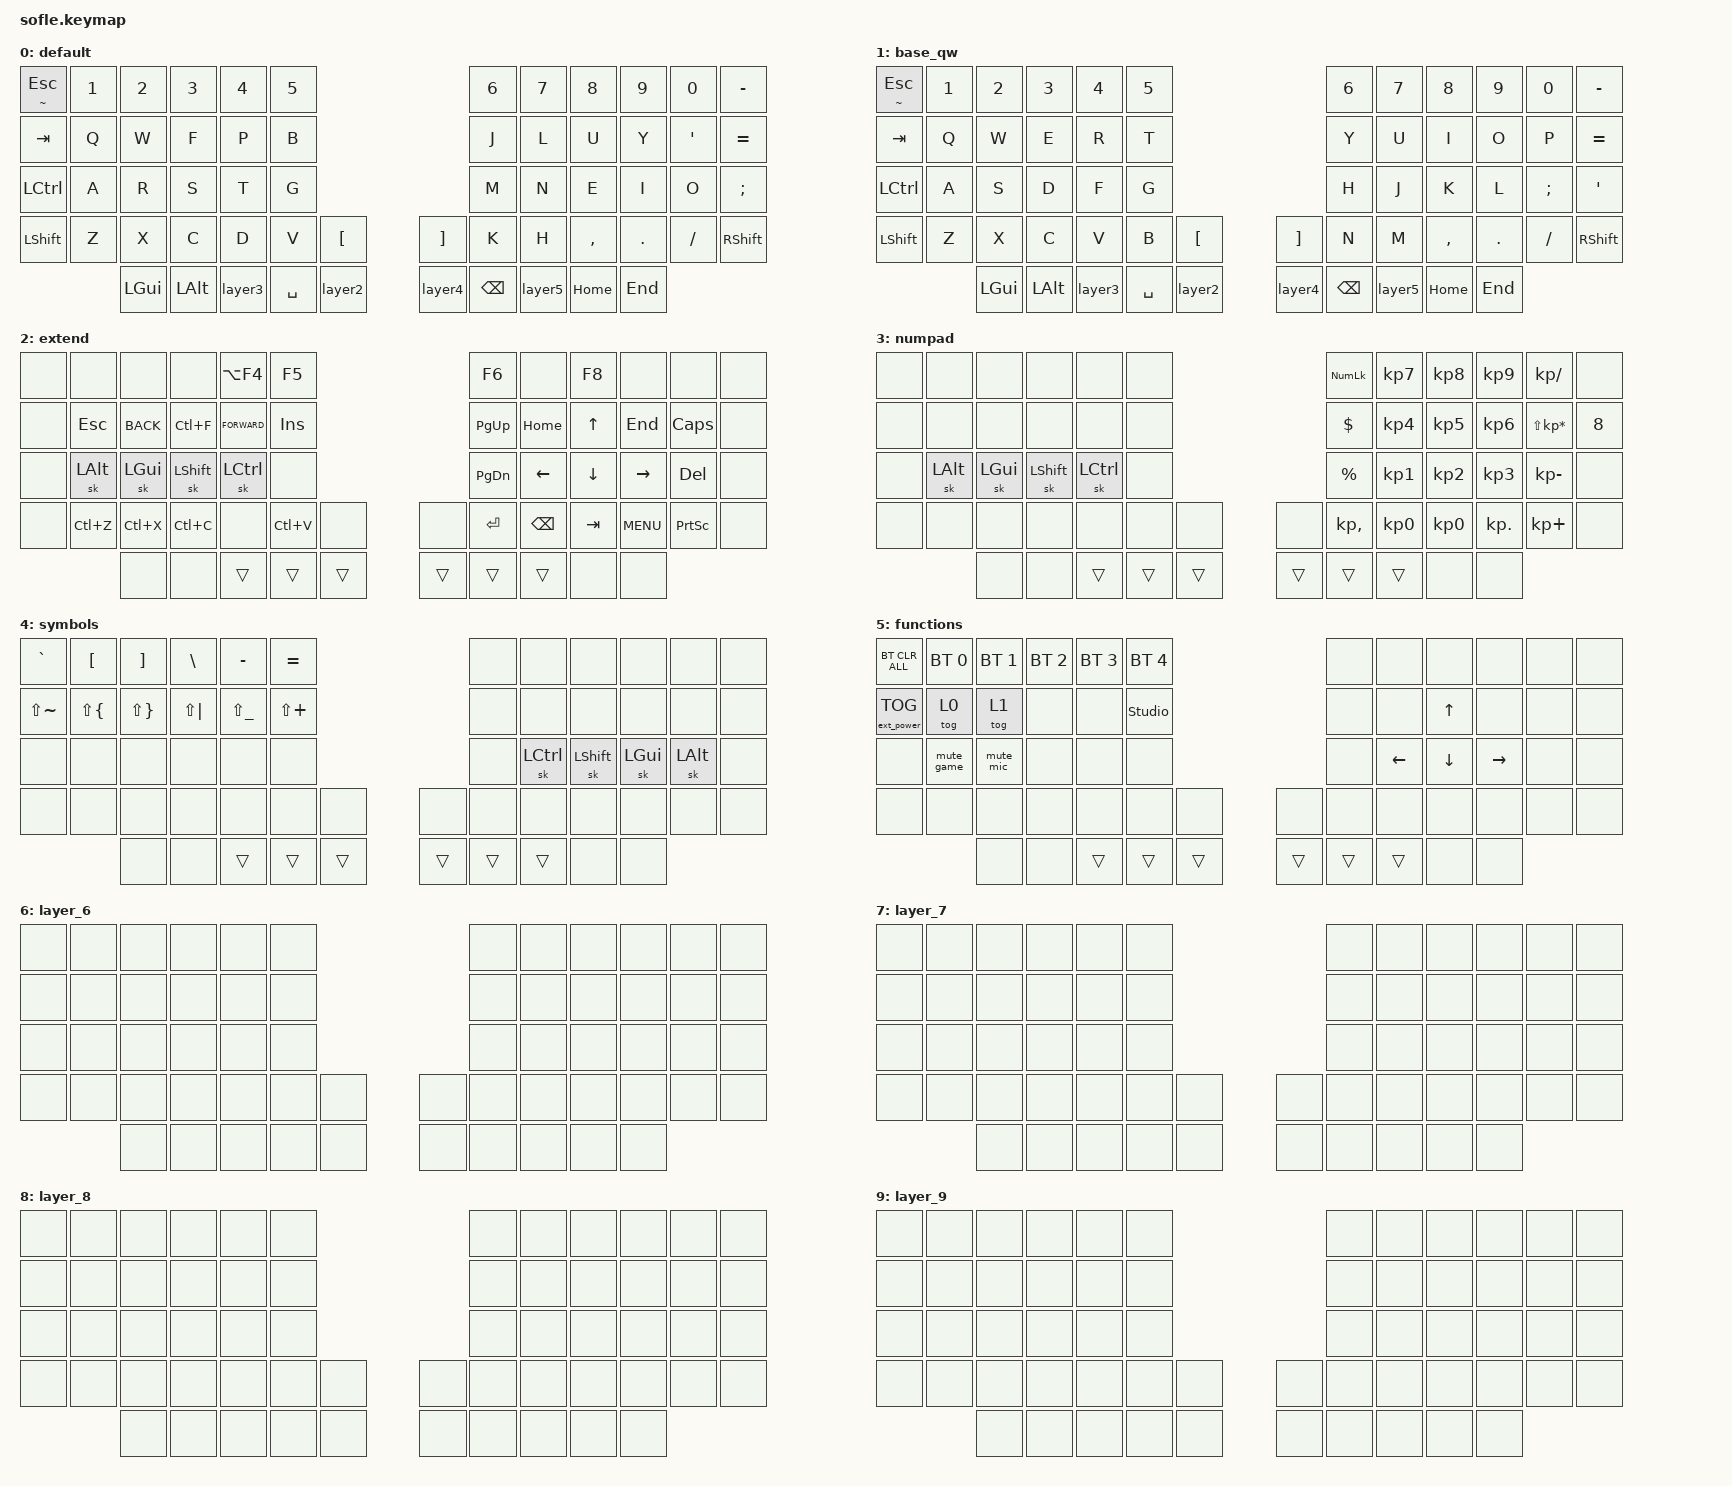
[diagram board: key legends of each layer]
/*
 * Copyright (c) 2020 The ZMK Contributors
 *
 * SPDX-License-Identifier: MIT
 */

#include <behaviors.dtsi>
#include <dt-bindings/zmk/bt.h>
#include <dt-bindings/zmk/ext_power.h>
#include <dt-bindings/zmk/keys.h>

#define BASE 0
#define LOWER 1
#define RAISE 2
#define ADJUST 3
#define extra_layer 4

&sk {
    release-after-ms = <2500>;
    quick-release;
};

/ {
    // Activate ADJUST layer by pressing raise and lower

    conditional_layers { compatible = "zmk,conditional-layers"; };

    combos { compatible = "zmk,combos"; };

    behaviors {
        caps: caps {
            compatible = "zmk,behavior-caps-word";
            label = "CAPS";
            #binding-cells = <0>;
            continue-list = <POUND MINUS BACKSPACE UNDERSCORE>;
        };

        layer2: layer2 {
            compatible = "zmk,behavior-tap-dance";
            label = "LAYER2";
            #binding-cells = <0>;
            bindings = <&mo 2>, <&tog 2>;
        };

        layer3: layer3 {
            compatible = "zmk,behavior-tap-dance";
            label = "LAYER3";
            #binding-cells = <0>;
            bindings = <&mo 3>, <&tog 3>;
        };

        layer4: layer4 {
            compatible = "zmk,behavior-tap-dance";
            label = "LAYER4";
            #binding-cells = <0>;
            bindings = <&mo 4>, <&tog 4>;
        };

        layer5: layer5 {
            compatible = "zmk,behavior-tap-dance";
            label = "LAYER5";
            #binding-cells = <0>;
            bindings = <&mo 5>, <&tog 5>;
        };
    };

    macros {
        mute_game: mute_game {
            compatible = "zmk,behavior-macro";
            #binding-cells = <0>;
            bindings = <&kp LC(KP_ASTERISK)>;
            label = "MUTE_GAME";
        };

        mute_mic: mute_mic {
            compatible = "zmk,behavior-macro";
            #binding-cells = <0>;
            bindings = <&kp LC(KP_DIVIDE)>;
            label = "MUTE_MIC";
        };
    };

    keymap {
        compatible = "zmk,keymap";

        base0_colemak-dh {
            display-name = "default";

            // ------------------------------------------------------------------------------------------------------------
            // |   `   |  1  |  2  |  3   |  4   |  5   |                   |  6   |  7    |  8    |  9   |   0   |       |
            // |  ESC  |  Q  |  W  |  E   |  R   |  T   |                   |  Y   |  U    |  I    |  O   |   P   | BKSPC |
            // |  TAB  |  A  |  S  |  D   |  F   |  G   |                   |  H   |  J    |  K    |  L   |   ;   |   '   |
            // | SHIFT |  Z  |  X  |  C   |  V   |  B   |  MUTE  |  |       |  N   |  M    |  ,    |  .   |   /   | SHIFT |
            //               | GUI | ALT  | CTRL | LOWER|  ENTER |  | SPACE | RAISE| CTRL  | ALT   | GUI  |

            bindings = <
&mt TILDE ESC  &kp N1  &kp N2    &kp N3    &kp N4   &kp N5                                            &kp N6         &kp N7   &kp N8     &kp N9   &kp N0    &kp MINUS
&kp TAB        &kp Q   &kp W     &kp F     &kp P    &kp B                                             &kp J          &kp L    &kp U      &kp Y    &kp APOS  &kp EQUAL
&kp LCTRL      &kp A   &kp R     &kp S     &kp T    &kp G                                             &kp M          &kp N    &kp E      &kp I    &kp O     &kp SEMICOLON
&kp LSHIFT     &kp Z   &kp X     &kp C     &kp D    &kp V      &kp LEFT_BRACKET    &kp RIGHT_BRACKET  &kp K          &kp H    &kp COMMA  &kp DOT  &kp FSLH  &kp RIGHT_SHIFT
                       &kp LGUI  &kp LALT  &layer3  &kp SPACE  &layer2             &layer4            &kp BACKSPACE  &layer5  &kp HOME   &kp END
            >;

            label = "base_cm";
        };

        base1_QWERTY {
            bindings = <
&mt TILDE ESC  &kp N1  &kp N2    &kp N3    &kp N4   &kp N5                           &kp N6    &kp N7   &kp N8     &kp N9   &kp N0    &kp MINUS
&kp TAB        &kp Q   &kp W     &kp E     &kp R    &kp T                            &kp Y     &kp U    &kp I      &kp O    &kp P     &kp EQUAL
&kp LCTRL      &kp A   &kp S     &kp D     &kp F    &kp G                            &kp H     &kp J    &kp K      &kp L    &kp SEMI  &kp APOS
&kp LSHFT      &kp Z   &kp X     &kp C     &kp V    &kp B      &kp LBKT    &kp RBKT  &kp N     &kp M    &kp COMMA  &kp DOT  &kp FSLH  &kp RSHFT
                       &kp LGUI  &kp LALT  &layer3  &kp SPACE  &layer2     &layer4   &kp BSPC  &layer5  &kp HOME   &kp END
            >;

            label = "base_qw";
        };

        extend {
            bindings = <
&none  &none      &none       &none      &kp LA(F4)     &kp F5                       &kp F6         &none     &kp F8          &none            &none            &none
&none  &kp ESC    &kp K_BACK  &kp LC(F)  &kp K_FORWARD  &kp INS                      &kp PG_UP      &kp HOME  &kp UP_ARROW    &kp END          &kp CAPS         &none
&none  &sk LALT   &sk LGUI    &sk LSHFT  &sk LCTRL      &none                        &kp PAGE_DOWN  &kp LEFT  &kp DOWN_ARROW  &kp RIGHT_ARROW  &kp DEL          &none
&none  &kp LC(Z)  &kp LC(X)   &kp LC(C)  &none          &kp LC(V)  &none     &none   &kp ENTER      &kp BSPC  &kp TAB         &kp C_MENU       &kp PRINTSCREEN  &none
                  &none       &none      &trans         &trans     &trans    &trans  &trans         &trans    &none           &none
            >;

            label = "extend";
        };

        numpad {
            bindings = <
&none  &none     &none     &none      &none      &none                     &kp KP_NUMLOCK  &kp KP_NUMBER_7  &kp KP_N8  &kp KP_N9   &kp KP_DIVIDE        &none
&none  &none     &none     &none      &none      &none                     &kp DOLLAR      &kp KP_N4        &kp KP_N5  &kp KP_N6   &kp LS(KP_ASTERISK)  &kp N8
&none  &sk LALT  &sk LGUI  &sk LSHFT  &sk LCTRL  &none                     &kp PERCENT     &kp KP_N1        &kp KP_N2  &kp KP_N3   &kp KP_MINUS         &none
&none  &none     &none     &none      &none      &none   &none     &none   &kp KP_COMMA    &kp KP_N0        &kp KP_N0  &kp KP_DOT  &kp KP_PLUS          &none
                 &none     &none      &trans     &trans  &trans    &trans  &trans          &trans           &none      &none
            >;

            label = "numpad";
        };

        symbols {
            // ----------------------------------------------------------------------------------------------------------------------------
            // | BTCLR  |  BT1    |  BT2    |   BT3   |   BT4   |   BT5   |                  |      |      |       |      |       |       |
            // | EXTPWR | RGB_HUD | RGB_HUI | RGB_SAD | RGB_SAI | RGB_EFF |                  |      |      |       |      |       |       |
            // |        | RGB_BRD | RGB_BRI |         |         |         |                  |      |      |       |      |       |       |
            // |        |         |         |         |         |         | RGB_TOG | |      |      |      |       |      |       |       |
            //                    |         |         |         |         |         | |      |      |      |       |      |

            display-name = "symbols";
            bindings = <
&kp GRAVE      &kp LBKT      &kp RBKT      &kp BSLH      &kp MINUS      &kp EQUAL                       &none   &none      &none      &none     &none     &none
&kp LS(TILDE)  &kp LS(LBRC)  &kp LS(RBRC)  &kp LS(PIPE)  &kp LS(UNDER)  &kp LS(PLUS)                    &none   &none      &none      &none     &none     &none
&none          &none         &none         &none         &none          &none                           &none   &sk LCTRL  &sk LSHFT  &sk LGUI  &sk LALT  &none
&none          &none         &none         &none         &none          &none         &none     &none   &none   &none      &none      &none     &none     &none
                             &none         &none         &trans         &trans        &trans    &trans  &trans  &trans     &none      &none
            >;
        };

        functions {
            // ----------------------------------------------------------------------------------------------------------------------------
            // | BTCLR  |  BT1    |  BT2    |   BT3   |   BT4   |   BT5   |                  |      |      |       |      |       |       |
            // | EXTPWR | RGB_HUD | RGB_HUI | RGB_SAD | RGB_SAI | RGB_EFF |                  |      |      |       |      |       |       |
            // |        | RGB_BRD | RGB_BRI |         |         |         |                  |      |      |       |      |       |       |
            // |        |         |         |         |         |         | RGB_TOG | |      |      |      |       |      |       |       |
            //                    |         |         |         |         |         | |      |      |      |       |      |

            display-name = "functions";
            bindings = <
&bt BT_CLR_ALL     &bt BT_SEL 0  &bt BT_SEL 1  &bt BT_SEL 2  &bt BT_SEL 3  &bt BT_SEL 4                      &none   &none           &none           &none            &none  &none
&ext_power EP_TOG  &tog 0        &tog 1        &none         &none         &studio_unlock                    &none   &none           &kp UP_ARROW    &none            &none  &none
&none              &mute_game    &mute_mic     &none         &none         &none                             &none   &kp LEFT_ARROW  &kp DOWN_ARROW  &kp RIGHT_ARROW  &none  &none
&none              &none         &none         &none         &none         &none           &none     &none   &none   &none           &none           &none            &none  &none
                                 &none         &none         &trans        &trans          &trans    &trans  &trans  &trans          &none           &none
            >;
        };

        layer_6 {
            bindings = <
&none  &none  &none  &none  &none  &none                  &none  &none  &none  &none  &none  &none
&none  &none  &none  &none  &none  &none                  &none  &none  &none  &none  &none  &none
&none  &none  &none  &none  &none  &none                  &none  &none  &none  &none  &none  &none
&none  &none  &none  &none  &none  &none  &none    &none  &none  &none  &none  &none  &none  &none
              &none  &none  &none  &none  &none    &none  &none  &none  &none  &none
            >;
        };

        layer_7 {
            bindings = <
&none  &none  &none  &none  &none  &none                  &none  &none  &none  &none  &none  &none
&none  &none  &none  &none  &none  &none                  &none  &none  &none  &none  &none  &none
&none  &none  &none  &none  &none  &none                  &none  &none  &none  &none  &none  &none
&none  &none  &none  &none  &none  &none  &none    &none  &none  &none  &none  &none  &none  &none
              &none  &none  &none  &none  &none    &none  &none  &none  &none  &none
            >;
        };

        layer_8 {
            bindings = <
&none  &none  &none  &none  &none  &none                  &none  &none  &none  &none  &none  &none
&none  &none  &none  &none  &none  &none                  &none  &none  &none  &none  &none  &none
&none  &none  &none  &none  &none  &none                  &none  &none  &none  &none  &none  &none
&none  &none  &none  &none  &none  &none  &none    &none  &none  &none  &none  &none  &none  &none
              &none  &none  &none  &none  &none    &none  &none  &none  &none  &none
            >;
        };

        layer_9 {
            bindings = <
&none  &none  &none  &none  &none  &none                  &none  &none  &none  &none  &none  &none
&none  &none  &none  &none  &none  &none                  &none  &none  &none  &none  &none  &none
&none  &none  &none  &none  &none  &none                  &none  &none  &none  &none  &none  &none
&none  &none  &none  &none  &none  &none  &none    &none  &none  &none  &none  &none  &none  &none
              &none  &none  &none  &none  &none    &none  &none  &none  &none  &none
            >;
        };
    };
};
